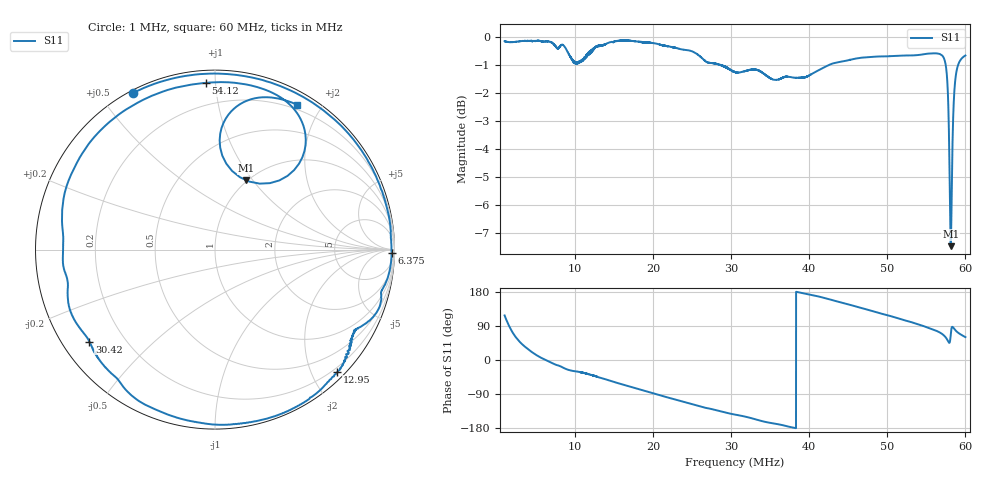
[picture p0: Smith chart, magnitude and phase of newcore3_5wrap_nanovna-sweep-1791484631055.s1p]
! NanoVNA Web complex sweep
! Processing: unaveraged complex samples; linear segment spacing; no smoothing
# Hz S RI R 50
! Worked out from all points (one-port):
!   5050 points, 1 MHz to 60 MHz, reference 50 ohm
!   lowest |S11| = -7.5 dB at 58.12 MHz (marker M1), VSWR 2.47, Z = 49.3 + j46.4 ohm
!   |S11| at or under -10 dB: nowhere
!   S11 on the Smith chart (normalised r, x): 1 MHz: 0.01, +0.61; 6.375 MHz: 50, -61; 12.95 MHz: 0.13, -2.41; 30.42 MHz: 0.08, -0.33; 54.12 MHz: 0.07, +0.94; 60 MHz: 0.15, +1.71
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1000000  -0.4556 0.8727
1549195  -0.0142 0.9808
2110075  0.3397 0.9203
3068245  0.6945 0.698
4517185  0.9231 0.3437
6375100  0.9839 -0.0192
8384920  0.9171 -0.3174
1.295376e7  0.6814 -0.6816
1.575816e7  0.4546 -0.8751
1.966094e7  0.07 -0.9758
2.313139e7  -0.2631 -0.9187
2.605264e7  -0.5011 -0.7759
3.042283e7  -0.6999 -0.513
3.050462e7  -0.7017 -0.5079
3.787786e7  -0.8472 -0.027
4.223636e7  -0.8459 0.2716
4.52511e7  -0.7511 0.5168
4.908378e7  -0.507 0.7729
5.262433e7  -0.1998 0.9067
5.412001e7  -0.0521 0.929
5.672576e7  0.2799 0.8908
5.727496e7  0.3968 0.8253
5.762551e7  0.4876 0.7035
5.790595e7  0.4602 0.4666
5.811628e7  0.1734 0.3857
5.84084e7  0.0438 0.6982
5.878232e7  0.1919 0.8348
5.999756e7  0.4585 0.8068
